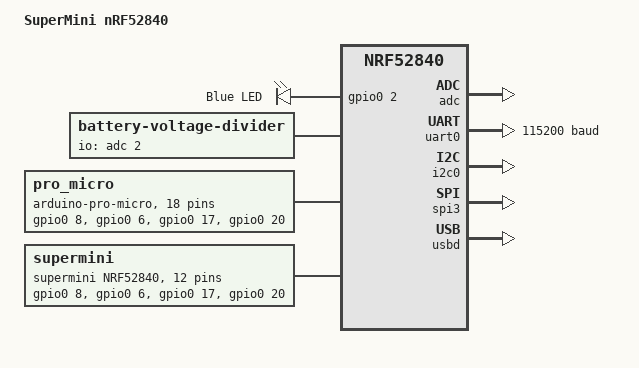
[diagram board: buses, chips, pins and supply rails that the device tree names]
/*
 * Copyright (c) 2023 SuperMini nRF52840
 *
 * SPDX-License-Identifier: MIT
 */

/dts-v1/;
#include <nordic/nrf52840_qiaa.dtsi>
#include <dt-bindings/led/led.h>

/ {
    model = "SuperMini nRF52840";
    compatible = "supermini,nrf52840";

    chosen {
        zephyr,code-partition = &code_partition;
        zephyr,sram = &sram0;
        zephyr,flash = &flash0;
        zephyr,console = &cdc_acm_uart;
        zmk,battery = &vbatt;
    };

    leds {
        compatible = "gpio-leds";
        blue_led: led_0 {
            gpios = <&gpio0 2 GPIO_ACTIVE_HIGH>;
            label = "Blue LED";
        };
    };

    vbatt: vbatt {
        compatible = "zmk,battery-voltage-divider";
        label = "BATTERY";
        io-channels = <&adc 2>;
        output-ohms = <2000000>;
        full-ohms = <(2000000 + 806000)>;
    };

    pro_micro: connector {
        compatible = "arduino-pro-micro";
        #gpio-cells = <2>;
        gpio-map-mask = <0xffffffff 0xffffffc0>;
        gpio-map-pass-thru = <0 0x3f>;
        gpio-map
            = <0 0 &gpio0 8 0>   /* D0 */
            , <1 0 &gpio0 6 0>   /* D1 */
            , <2 0 &gpio0 17 0>  /* D2 */
            , <3 0 &gpio0 20 0>  /* D3 */
            , <4 0 &gpio0 22 0>  /* D4/A6 */
            , <5 0 &gpio0 24 0>  /* D5 */
            , <6 0 &gpio1 0 0>   /* D6/A7 */
            , <7 0 &gpio0 11 0>  /* D7 */
            , <8 0 &gpio1 4 0>   /* D8/A8 */
            , <9 0 &gpio1 6 0>   /* D9/A9 */
            , <10 0 &gpio1 11 0> /* D10/A10 */
            , <14 0 &gpio1 13 0> /* D14/A0 */
            , <15 0 &gpio1 15 0> /* D15/A1 */
            , <16 0 &gpio0 2 0>  /* D16/A2 */
            , <18 0 &gpio0 29 0> /* D18/A3 */
            , <19 0 &gpio0 31 0> /* D19/A4 */
            , <20 0 &gpio0 30 0> /* D20/A5 */
            , <21 0 &gpio0 28 0> /* D21/A6 */
            ;
    };

    supermini: supermini_pins {
        compatible = "supermini,nrf52840";
        #gpio-cells = <2>;
        gpio-map-mask = <0xffffffff 0xffffffc0>;
        gpio-map-pass-thru = <0 0x3f>;
        gpio-map
            = <6 0 &gpio0 8 0>   /* P6 */
            , <7 0 &gpio0 6 0>   /* P7 */
            , <8 0 &gpio0 17 0>  /* P8 */
            , <9 0 &gpio0 20 0>  /* P9 */
            , <10 0 &gpio0 22 0> /* P10 */
            , <14 0 &gpio1 13 0> /* P14 */
            , <15 0 &gpio1 15 0> /* P15 */
            , <16 0 &gpio0 2 0>  /* P16 */
            , <18 0 &gpio0 29 0> /* P18 */
            , <19 0 &gpio0 31 0> /* P19 */
            , <101 0 &gpio0 30 0> /* P101 */
            , <102 0 &gpio0 28 0> /* P102 */
            ;
    };
};

&adc {
    status = "okay";
};

&gpiote {
    status = "okay";
};

&gpio0 {
    status = "okay";
};

&gpio1 {
    status = "okay";
};

&uart0 {
    compatible = "nordic,nrf-uarte";
    status = "okay";
    current-speed = <115200>;
    pinctrl-0 = <&uart0_default>;
    pinctrl-1 = <&uart0_sleep>;
    pinctrl-names = "default", "sleep";
};

&i2c0 {
    compatible = "nordic,nrf-twi";
    status = "okay";
    pinctrl-0 = <&i2c0_default>;
    pinctrl-1 = <&i2c0_sleep>;
    pinctrl-names = "default", "sleep";
};

&spi1 {
    compatible = "nordic,nrf-spi";
    /* Cannot be used together with i2c0. */
    /* status = "okay"; */
    pinctrl-0 = <&spi1_default>;
    pinctrl-1 = <&spi1_sleep>;
    pinctrl-names = "default", "sleep";
};

&spi3 {
    compatible = "nordic,nrf-spim";
    status = "okay";
    pinctrl-0 = <&spi3_default>;
    pinctrl-1 = <&spi3_sleep>;
    pinctrl-names = "default", "sleep";
};

&flash0 {
    partitions {
        compatible = "fixed-partitions";
        #address-cells = <1>;
        #size-cells = <1>;

        sd_partition: partition@0 {
            label = "softdevice";
            reg = <0x00000000 0x00026000>;
        };
        code_partition: partition@26000 {
            label = "code_partition";
            reg = <0x00026000 0x000c6000>;
        };

        storage_partition: partition@ec000 {
            label = "storage";
            reg = <0x000ec000 0x00008000>;
        };

        boot_partition: partition@f4000 {
            label = "adafruit_boot";
            reg = <0x000f4000 0x0000c000>;
        };
    };
};

&usbd {
    status = "okay";
    cdc_acm_uart: cdc_acm_uart {
        compatible = "zephyr,cdc-acm-uart";
        label = "CDC_ACM_0";
    };
};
